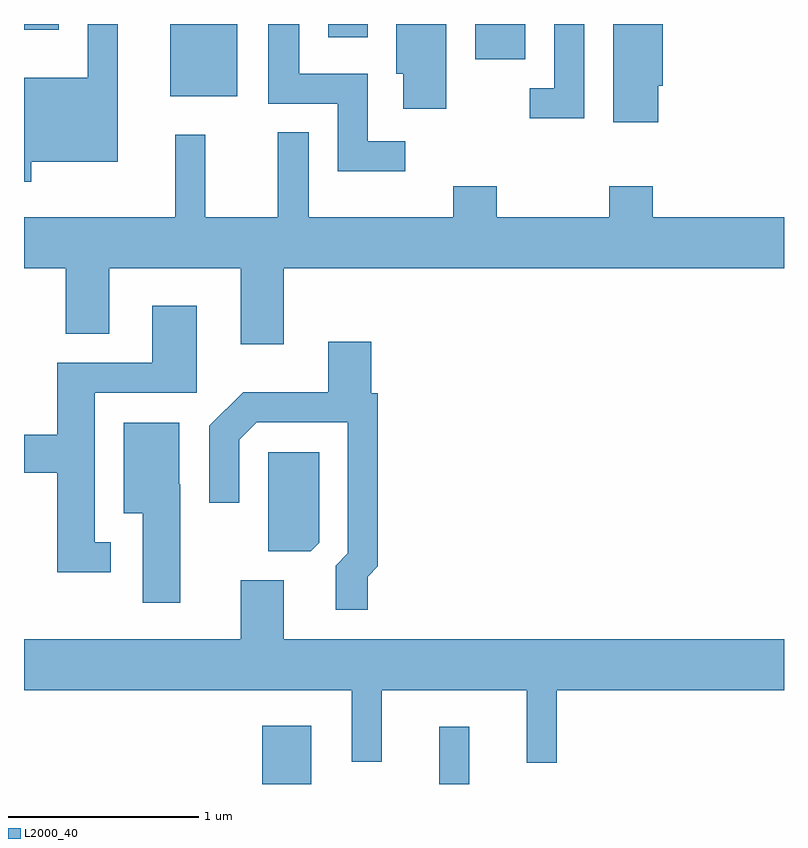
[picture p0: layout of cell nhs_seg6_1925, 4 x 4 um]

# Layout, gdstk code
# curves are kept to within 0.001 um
import gdstk
lib = gdstk.Library(unit=1e-6, precision=1e-09)
def R(c, l, rs):  # rectangles x0, y0, x1, y1
    for r in rs: c.add(gdstk.rectangle(r[:2], r[2:], *l))
def P(c, l, *ps):  # polygons
    for p in ps: c.add(gdstk.Polygon(p, *l))
L2000_40 = (2000, 40)

nhs_seg6_1925 = lib.new_cell('nhs_seg6_1925')
R(nhs_seg6_1925, L2000_40, [(244.866,1596.162,245.124,1596.469), (245.796,1596.162,245.954,1596.463), (244.381,1599.781,244.734,1600.162), (245.986,1599.976,246.249,1600.162), (245.211,1600.091,245.419,1600.162), (243.611,1600.131,243.794,1600.162)])
P(nhs_seg6_1925, L2000_40, [(246.559,1600.162),(246.401,1600.162),(246.401,1599.824),(246.273,1599.824),(246.273,1599.666),(246.559,1599.666)],
  [(245.618,1599.544),(245.419,1599.544),(245.419,1599.899),(245.059,1599.899),(245.059,1600.162),(244.896,1600.162),(244.896,1599.741),(245.261,1599.741),(245.261,1599.386),(245.618,1599.386)],
  [(243.649,1599.436),(244.104,1599.436),(244.104,1600.162),(243.946,1600.162),(243.946,1599.879),(243.611,1599.879),(243.611,1599.333),(243.649,1599.333)],
  [(246.949,1599.836),(246.974,1599.836),(246.974,1600.162),(246.711,1600.162),(246.711,1599.646),(246.949,1599.646)],
  [(245.834,1600.162),(245.571,1600.162),(245.571,1599.901),(245.606,1599.901),(245.606,1599.716),(245.834,1599.716)],
  [(244.979,1598.876),(247.611,1598.876),(247.611,1599.144),(246.919,1599.144),(246.919,1599.309),(246.691,1599.309),(246.691,1599.144),(246.099,1599.144),(246.099,1599.309),(245.871,1599.309),(245.871,1599.144),(245.109,1599.144),(245.109,1599.593),(244.946,1599.593),(244.946,1599.144),(244.564,1599.144),(244.564,1599.578),(244.406,1599.578),(244.406,1599.144),(243.611,1599.144),(243.611,1598.876),(243.831,1598.876),(243.831,1598.531),(244.059,1598.531),(244.059,1598.876),(244.751,1598.876),(244.751,1598.476),(244.979,1598.476)],
  [(244.068,1597.434),(243.984,1597.434),(243.984,1598.221),(244.519,1598.221),(244.519,1598.679),(244.286,1598.679),(244.286,1598.379),(243.786,1598.379),(243.786,1597.999),(243.611,1597.999),(243.611,1597.801),(243.786,1597.801),(243.786,1597.276),(244.068,1597.276)],
  [(245.419,1597.254),(245.474,1597.309),(245.474,1598.219),(245.439,1598.219),(245.439,1598.489),(245.211,1598.489),(245.211,1598.224),(244.764,1598.224),(244.586,1598.047),(244.586,1597.643),(244.744,1597.643),(244.744,1597.974),(244.837,1598.066),(245.316,1598.066),(245.316,1597.377),(245.251,1597.312),(245.251,1597.078),(245.419,1597.078)],
  [(244.434,1597.74),(244.429,1597.74),(244.429,1598.064),(244.136,1598.064),(244.136,1597.586),(244.236,1597.586),(244.236,1597.116),(244.434,1597.116)],
  [(245.164,1597.432),(245.164,1597.909),(244.896,1597.909),(244.896,1597.386),(245.119,1597.386)],
  [(246.414,1596.656),(247.611,1596.656),(247.611,1596.924),(244.979,1596.924),(244.979,1597.234),(244.751,1597.234),(244.751,1596.924),(243.611,1596.924),(243.611,1596.656),(245.336,1596.656),(245.336,1596.278),(245.494,1596.278),(245.494,1596.656),(246.256,1596.656),(246.256,1596.273),(246.414,1596.273)])

lib.write_gds('nhs_seg6_1925.gds')
